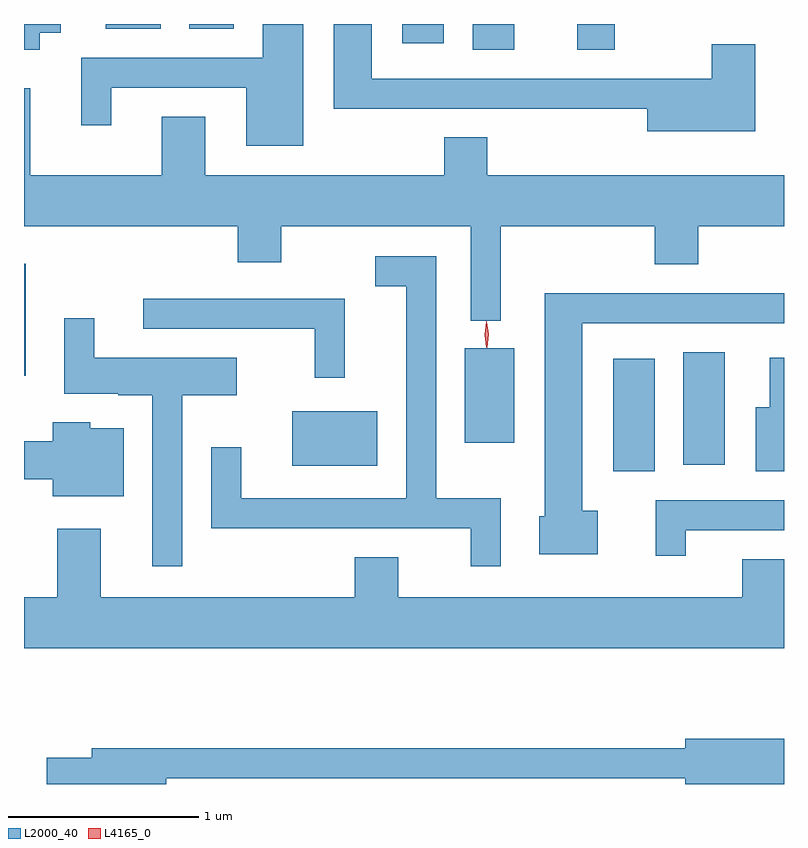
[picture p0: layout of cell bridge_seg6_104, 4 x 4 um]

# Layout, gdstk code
import gdstk
lib = gdstk.Library(unit=1e-6, precision=1e-09)
def R(c, l, rs):  # rectangles x0, y0, x1, y1
    for r in rs: c.add(gdstk.rectangle(r[:2], r[2:], *l))
def P(c, l, *ps):  # polygons
    for p in ps: c.add(gdstk.Polygon(p, *l))
L2000_40 = (2000, 40)
L4165_0 = (4165, 0)

bridge_seg6_104 = lib.new_cell('bridge_seg6_104')
R(bridge_seg6_104, L2000_40, [(1109.946,1637.546,1110.164,1638.139), (1108.256,1637.576,1108.704,1637.864), (1110.316,1637.581,1110.534,1638.174), (1109.166,1637.696,1109.424,1638.194), (1106.845,1638.051,1106.854,1638.639), (1109.206,1639.766,1109.424,1639.901), (1109.756,1639.766,1109.954,1639.901), (1108.836,1639.801,1109.054,1639.901), (1107.276,1639.876,1107.564,1639.901), (1107.716,1639.876,1107.949,1639.901)])
P(bridge_seg6_104, L2000_40, [(1106.929,1639.856),(1107.039,1639.856),(1107.039,1639.901),(1106.845,1639.901),(1106.845,1639.766),(1106.929,1639.766)],
  [(1110.694,1639.794),(1110.466,1639.794),(1110.466,1639.614),(1108.674,1639.614),(1108.674,1639.901),(1108.476,1639.901),(1108.476,1639.456),(1110.126,1639.456),(1110.126,1639.336),(1110.694,1639.336)],
  [(1108.314,1639.901),(1108.101,1639.901),(1108.101,1639.724),(1107.146,1639.724),(1107.146,1639.368),(1107.304,1639.368),(1107.304,1639.566),(1108.016,1639.566),(1108.016,1639.261),(1108.314,1639.261)],
  [(1109.354,1638.836),(1110.166,1638.836),(1110.166,1638.636),(1110.394,1638.636),(1110.394,1638.836),(1110.845,1638.836),(1110.845,1639.104),(1109.284,1639.104),(1109.284,1639.304),(1109.056,1639.304),(1109.056,1639.104),(1107.799,1639.104),(1107.799,1639.414),(1107.571,1639.414),(1107.571,1639.104),(1106.879,1639.104),(1106.879,1639.564),(1106.845,1639.564),(1106.845,1638.836),(1107.971,1638.836),(1107.971,1638.646),(1108.199,1638.646),(1108.199,1638.836),(1109.196,1638.836),(1109.196,1638.338),(1109.354,1638.338)],
  [(1109.354,1637.404),(1109.014,1637.404),(1109.014,1638.679),(1108.693,1638.679),(1108.693,1638.521),(1108.856,1638.521),(1108.856,1637.404),(1107.989,1637.404),(1107.989,1637.673),(1107.831,1637.673),(1107.831,1637.246),(1109.196,1637.246),(1109.196,1637.048),(1109.354,1637.048)],
  [(1109.864,1637.339),(1109.784,1637.339),(1109.784,1638.326),(1110.845,1638.326),(1110.845,1638.484),(1109.586,1638.484),(1109.586,1637.309),(1109.556,1637.309),(1109.556,1637.111),(1109.864,1637.111)],
  [(1108.534,1638.454),(1107.473,1638.454),(1107.473,1638.296),(1108.376,1638.296),(1108.376,1638.038),(1108.534,1638.038)],
  [(1107.679,1637.946),(1107.964,1637.946),(1107.964,1638.144),(1107.214,1638.144),(1107.214,1638.353),(1107.056,1638.353),(1107.056,1637.956),(1107.34,1637.956),(1107.34,1637.946),(1107.521,1637.946),(1107.521,1637.048),(1107.679,1637.048)],
  [(1110.845,1638.144),(1110.771,1638.144),(1110.771,1637.884),(1110.696,1637.884),(1110.696,1637.546),(1110.845,1637.546)],
  [(1107.369,1637.774),(1107.194,1637.774),(1107.194,1637.804),(1106.996,1637.804),(1106.996,1637.704),(1106.845,1637.704),(1106.845,1637.506),(1106.996,1637.506),(1106.996,1637.416),(1107.369,1637.416)],
  [(1110.329,1637.236),(1110.845,1637.236),(1110.845,1637.394),(1110.171,1637.394),(1110.171,1637.103),(1110.329,1637.103)],
  [(1110.845,1637.084),(1110.626,1637.084),(1110.626,1636.884),(1108.814,1636.884),(1108.814,1637.094),(1108.586,1637.094),(1108.586,1636.884),(1107.249,1636.884),(1107.249,1637.244),(1107.021,1637.244),(1107.021,1636.884),(1106.845,1636.884),(1106.845,1636.616),(1110.845,1636.616)],
  [(1107.594,1635.931),(1110.326,1635.931),(1110.326,1635.901),(1110.845,1635.901),(1110.845,1636.139),(1110.326,1636.139),(1110.326,1636.089),(1107.201,1636.089),(1107.201,1636.039),(1106.966,1636.039),(1106.966,1635.901),(1107.594,1635.901)])
P(bridge_seg6_104, L4165_0, [(1109.283,1638.198),(1109.283,1638.198),(1109.271,1638.266),(1109.278,1638.335),(1109.279,1638.336),(1109.28,1638.335),(1109.291,1638.267),(1109.284,1638.198)],
  [(1109.279,1638.2),(1109.279,1638.201),(1109.269,1638.266),(1109.279,1638.332),(1109.279,1638.332),(1109.28,1638.332),(1109.289,1638.266),(1109.28,1638.201)])

lib.write_gds('bridge_seg6_104.gds')
